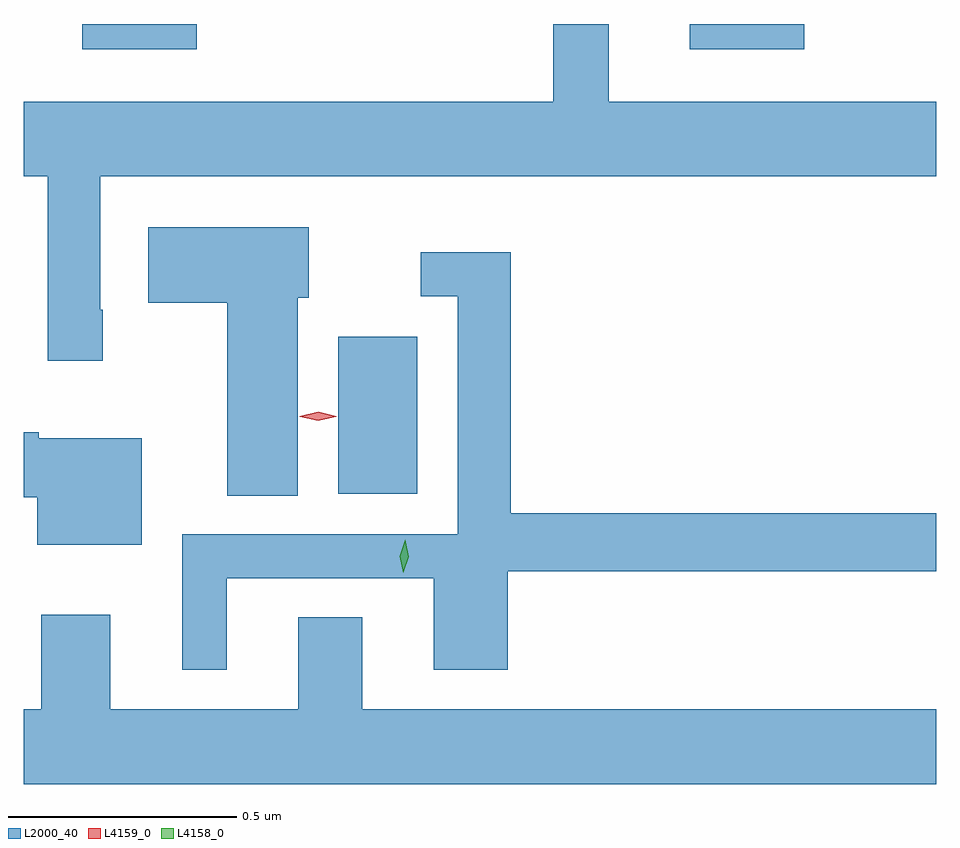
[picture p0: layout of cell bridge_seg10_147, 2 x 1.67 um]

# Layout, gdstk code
import gdstk
lib = gdstk.Library(unit=1e-6, precision=1e-09)
def R(c, l, rs):  # rectangles x0, y0, x1, y1
    for r in rs: c.add(gdstk.rectangle(r[:2], r[2:], *l))
def P(c, l, *ps):  # polygons
    for p in ps: c.add(gdstk.Polygon(p, *l))
L2000_40 = (2000, 40)
L4158_0 = (4158, 0)
L4159_0 = (4159, 0)

bridge_seg10_147 = lib.new_cell('bridge_seg10_147')
R(bridge_seg10_147, L2000_40, [(328.076,1304.948,328.249,1305.292), (327.515,1305.923,327.766,1305.978), (328.847,1305.923,329.098,1305.978)])
P(bridge_seg10_147, L2000_40, [(327.56,1305.352),(327.555,1305.352),(327.555,1305.644),(329.387,1305.644),(329.387,1305.808),(328.669,1305.808),(328.669,1305.978),(328.548,1305.978),(328.548,1305.808),(327.387,1305.808),(327.387,1305.644),(327.439,1305.644),(327.439,1305.24),(327.56,1305.24)],
  [(327.988,1305.378),(328.012,1305.378),(328.012,1305.532),(327.66,1305.532),(327.66,1305.367),(327.833,1305.367),(327.833,1304.944),(327.988,1304.944)],
  [(327.832,1304.763),(328.286,1304.763),(328.286,1304.562),(328.448,1304.562),(328.448,1304.778),(329.387,1304.778),(329.387,1304.906),(328.454,1304.906),(328.454,1305.478),(328.257,1305.478),(328.257,1305.381),(328.338,1305.381),(328.338,1304.859),(327.734,1304.859),(327.734,1304.562),(327.832,1304.562)],
  [(327.646,1305.07),(327.42,1305.07),(327.42,1305.083),(327.387,1305.083),(327.387,1304.941),(327.416,1304.941),(327.416,1304.837),(327.646,1304.837)],
  [(329.387,1304.476),(328.129,1304.476),(328.129,1304.678),(327.989,1304.678),(327.989,1304.476),(327.577,1304.476),(327.577,1304.683),(327.425,1304.683),(327.425,1304.476),(327.387,1304.476),(327.387,1304.312),(329.387,1304.312)])
P(bridge_seg10_147, L4158_0, [(328.219,1304.775),(328.219,1304.775),(328.211,1304.811),(328.223,1304.847),(328.223,1304.847),(328.223,1304.847),(328.231,1304.81),(328.219,1304.775)])
P(bridge_seg10_147, L4159_0, [(328.032,1305.108),(327.992,1305.117),(327.992,1305.118),(327.992,1305.118),(328.032,1305.128),(328.072,1305.118),(328.072,1305.118),(328.072,1305.117)])

lib.write_gds('bridge_seg10_147.gds')
